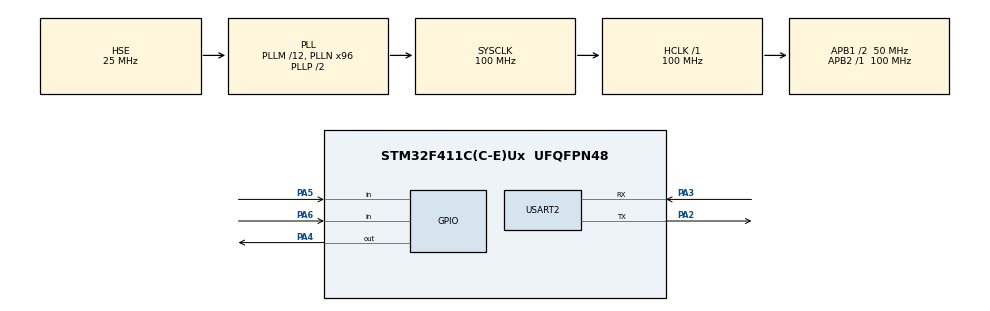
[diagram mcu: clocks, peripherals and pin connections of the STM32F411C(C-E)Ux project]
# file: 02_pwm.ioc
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Mcu.Family=STM32F4
Mcu.Name=STM32F411C(C-E)Ux
Mcu.Package=UFQFPN48
NVIC.PriorityGroup=NVIC_PRIORITYGROUP_4
PA13.Mode=Serial_Wire
PA13.Signal=SYS_JTMS-SWDIO
PA14.Mode=Serial_Wire
PA14.Signal=SYS_JTCK-SWCLK
PA2.Mode=Asynchronous
PA2.Signal=USART2_TX
PA3.Mode=Asynchronous
PA3.Signal=USART2_RX
PA4.Signal=GPIO_Output
PA5.GPIO_PuPd=GPIO_PULLUP
PA5.Signal=GPIO_Input
PA6.GPIO_PuPd=GPIO_PULLUP
PA6.Signal=GPIO_Input
PH0\ -\ OSC_IN.Mode=HSE-External-Oscillator
PH0\ -\ OSC_IN.Signal=RCC_OSC_IN
PH1\ -\ OSC_OUT.Mode=HSE-External-Oscillator
PH1\ -\ OSC_OUT.Signal=RCC_OSC_OUT
ProjectManager.HeapSize=0x200
ProjectManager.StackSize=0x400
ProjectManager.TargetToolchain=STM32CubeIDE
RCC.48MHZClocksFreq_Value=50000000
RCC.AHBFreq_Value=100000000
RCC.APB1CLKDivider=RCC_HCLK_DIV2
RCC.APB1Freq_Value=50000000
RCC.APB1TimFreq_Value=100000000
RCC.APB2Freq_Value=100000000
RCC.APB2TimFreq_Value=100000000
RCC.CortexFreq_Value=100000000
RCC.HCLKFreq_Value=100000000
RCC.HSE_VALUE=25000000
RCC.HSI_VALUE=16000000
RCC.LSE_VALUE=32768
RCC.PLLM=12
RCC.PLLN=96
RCC.PLLSourceVirtual=RCC_PLLSOURCE_HSE
RCC.SYSCLKFreq_VALUE=100000000
RCC.SYSCLKSource=RCC_SYSCLKSOURCE_PLLCLK
RCC.VCOOutputFreq_Value=200000000
USART2.VirtualMode=VM_ASYNC
board=custom

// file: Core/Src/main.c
/* USER CODE BEGIN Header */
/**
 ******************************************************************************
 * @file           : main.c
 * @brief          : Main program body
 ******************************************************************************
 * @attention
 *
 * Copyright (c) 2026 STMicroelectronics.
 * All rights reserved.
 *
 * This software is licensed under terms that can be found in the LICENSE file
 * in the root directory of this software component.
 * If no LICENSE file comes with this software, it is provided AS-IS.
 *
 ******************************************************************************
 */
/* USER CODE END Header */
#include "main.h"

/* USER CODE BEGIN Includes */
#include <stdint.h>
#include <stdio.h>
#include <string.h>

/* USER CODE END Includes */

/* USER CODE BEGIN PTD */
typedef struct
{
    GPIO_TypeDef *port;
    uint16_t pin;
} Led;

typedef struct
{
    GPIO_TypeDef *port;
    uint16_t pin;
    uint8_t raw;
    uint8_t stable;
    uint8_t write_bit;
} Button;
/* USER CODE END PTD */

/* USER CODE BEGIN PD */
#define PWM_MAX_DELAY 16
#define PWM_MIN_DELAY 0
/* USER CODE END PD */

UART_HandleTypeDef huart2;

/* USER CODE BEGIN PV */
Led led = {
    .port = GPIOA,
    .pin = GPIO_PIN_4,
};

Button button_inc = {
    .port = GPIOA,
    .pin = GPIO_PIN_5,
    .raw = 0,
    .stable = 0,
    .write_bit = 0
};

Button button_dec = {
    .port = GPIOA,
    .pin = GPIO_PIN_6,
    .raw = 0,
    .stable = 0,
    .write_bit = 0
};
/* USER CODE END PV */

void SystemClock_Config(void);
static void MX_GPIO_Init(void);
static void MX_USART2_UART_Init(void);
/* USER CODE BEGIN PFP */
uint8_t Button_Read(Button *button);
/* USER CODE END PFP */

/* USER CODE BEGIN 0 */
uint8_t Button_Read(Button *button)
{
    button->raw = (HAL_GPIO_ReadPin(button->port, button->pin) == GPIO_PIN_RESET);
    if (button->raw == 1)
    {
        button->stable |= (1 << button->write_bit);
    }
    else if (button->raw == 0)
    {
        button->stable &= ~(1 << button->write_bit);
    }
    button->write_bit = (button->write_bit + 1) % 8;

    return (button->stable == 0xFF);
}
/* USER CODE END 0 */

int main(void)
{

    /* MCU Configuration--------------------------------------------------------*/

    /* Reset of all peripherals, Initializes the Flash interface and the Systick. */
    HAL_Init();

    /* Configure the system clock */
    SystemClock_Config();

    /* Initialize all configured peripherals */
    MX_GPIO_Init();
    MX_USART2_UART_Init();

    /* Infinite loop */
    /* USER CODE BEGIN WHILE */
    char buffer[256] = { 0 };

    uint32_t delay = PWM_MAX_DELAY;
    uint32_t last_update = 0u;
    uint32_t now = 0u;

    while (1)
    {
        now = HAL_GetTick();

        if (delay != 0)
        {
            HAL_GPIO_WritePin(led.port, led.pin, GPIO_PIN_SET);
            HAL_Delay(delay);
        }

        if (delay != PWM_MAX_DELAY)
        {
            HAL_GPIO_WritePin(led.port, led.pin, GPIO_PIN_RESET);
            HAL_Delay(PWM_MAX_DELAY - delay);
        }

        uint8_t inc = Button_Read(&button_inc);
        uint8_t dec = Button_Read(&button_dec);
        if ((uint32_t) (now - last_update) >= 20)
        {
            if (inc)
            {
                if (delay != PWM_MAX_DELAY)
                    delay += 1;
            }
            else if (dec)
            {
                if (delay != 0)
                    delay -= 1;
            }

            uint32_t pos = sprintf(buffer,
                    "on: %u | off: %u | inc: %x | dec: %x", delay,
                    (PWM_MAX_DELAY - delay), button_inc.stable,
                    button_dec.stable);
            buffer[pos++] = '\r';
            buffer[pos++] = '\n';
            buffer[pos++] = '\0';
            HAL_UART_Transmit(&huart2, (uint8_t*) buffer, strlen(buffer),
                    HAL_MAX_DELAY);

            last_update = now;
        }

        /* USER CODE END WHILE */

    }
}

void SystemClock_Config(void)
{
    RCC_OscInitTypeDef RCC_OscInitStruct =
    { 0 };
    RCC_ClkInitTypeDef RCC_ClkInitStruct =
    { 0 };

    /** Configure the main internal regulator output voltage
     */
    __HAL_RCC_PWR_CLK_ENABLE();
    __HAL_PWR_VOLTAGESCALING_CONFIG(PWR_REGULATOR_VOLTAGE_SCALE1);

    /** Initializes the RCC Oscillators according to the specified parameters
     * in the RCC_OscInitTypeDef structure.
     */
    RCC_OscInitStruct.OscillatorType = RCC_OSCILLATORTYPE_HSE;
    RCC_OscInitStruct.HSEState = RCC_HSE_ON;
    RCC_OscInitStruct.PLL.PLLState = RCC_PLL_ON;
    RCC_OscInitStruct.PLL.PLLSource = RCC_PLLSOURCE_HSE;
    RCC_OscInitStruct.PLL.PLLM = 12;
    RCC_OscInitStruct.PLL.PLLN = 96;
    RCC_OscInitStruct.PLL.PLLP = RCC_PLLP_DIV2;
    RCC_OscInitStruct.PLL.PLLQ = 4;
    if (HAL_RCC_OscConfig(&RCC_OscInitStruct) != HAL_OK)
    {
        Error_Handler();
    }

    /** Initializes the CPU, AHB and APB buses clocks
     */
    RCC_ClkInitStruct.ClockType = RCC_CLOCKTYPE_HCLK | RCC_CLOCKTYPE_SYSCLK
            | RCC_CLOCKTYPE_PCLK1 | RCC_CLOCKTYPE_PCLK2;
    RCC_ClkInitStruct.SYSCLKSource = RCC_SYSCLKSOURCE_PLLCLK;
    RCC_ClkInitStruct.AHBCLKDivider = RCC_SYSCLK_DIV1;
    RCC_ClkInitStruct.APB1CLKDivider = RCC_HCLK_DIV2;
    RCC_ClkInitStruct.APB2CLKDivider = RCC_HCLK_DIV1;

    if (HAL_RCC_ClockConfig(&RCC_ClkInitStruct, FLASH_LATENCY_3) != HAL_OK)
    {
        Error_Handler();
    }
}

static void MX_USART2_UART_Init(void)
{

    huart2.Instance = USART2;
    huart2.Init.BaudRate = 115200;
    huart2.Init.WordLength = UART_WORDLENGTH_8B;
    huart2.Init.StopBits = UART_STOPBITS_1;
    huart2.Init.Parity = UART_PARITY_NONE;
    huart2.Init.Mode = UART_MODE_TX_RX;
    huart2.Init.HwFlowCtl = UART_HWCONTROL_NONE;
    huart2.Init.OverSampling = UART_OVERSAMPLING_16;
    if (HAL_UART_Init(&huart2) != HAL_OK)
    {
        Error_Handler();
    }

}

static void MX_GPIO_Init(void)
{
    GPIO_InitTypeDef GPIO_InitStruct =
    { 0 };

    /* GPIO Ports Clock Enable */
    __HAL_RCC_GPIOH_CLK_ENABLE();
    __HAL_RCC_GPIOA_CLK_ENABLE();

    /*Configure GPIO pin Output Level */
    HAL_GPIO_WritePin(GPIOA, GPIO_PIN_4, GPIO_PIN_RESET);

    /*Configure GPIO pin : PA4 */
    GPIO_InitStruct.Pin = GPIO_PIN_4;
    GPIO_InitStruct.Mode = GPIO_MODE_OUTPUT_PP;
    GPIO_InitStruct.Pull = GPIO_NOPULL;
    GPIO_InitStruct.Speed = GPIO_SPEED_FREQ_LOW;
    HAL_GPIO_Init(GPIOA, &GPIO_InitStruct);

    /*Configure GPIO pins : PA5 PA6 */
    GPIO_InitStruct.Pin = GPIO_PIN_5 | GPIO_PIN_6;
    GPIO_InitStruct.Mode = GPIO_MODE_INPUT;
    GPIO_InitStruct.Pull = GPIO_PULLUP;
    HAL_GPIO_Init(GPIOA, &GPIO_InitStruct);

}

void Error_Handler(void)
{
    __disable_irq();
    while (1)
    {
    }
}
#ifdef USE_FULL_ASSERT
/**
  * @brief  Reports the name of the source file and the source line number
  *         where the assert_param error has occurred.
  * @param  file: pointer to the source file name
  * @param  line: assert_param error line source number
  * @retval None
  */
void assert_failed(uint8_t *file, uint32_t line)
{
  /* USER CODE BEGIN 6 */
  /* User can add his own implementation to report the file name and line number,
     printf("Wrong parameters value: file %s on line %d\r\n", file, line) */
  /* USER CODE END 6 */
}
#endif /* USE_FULL_ASSERT */
